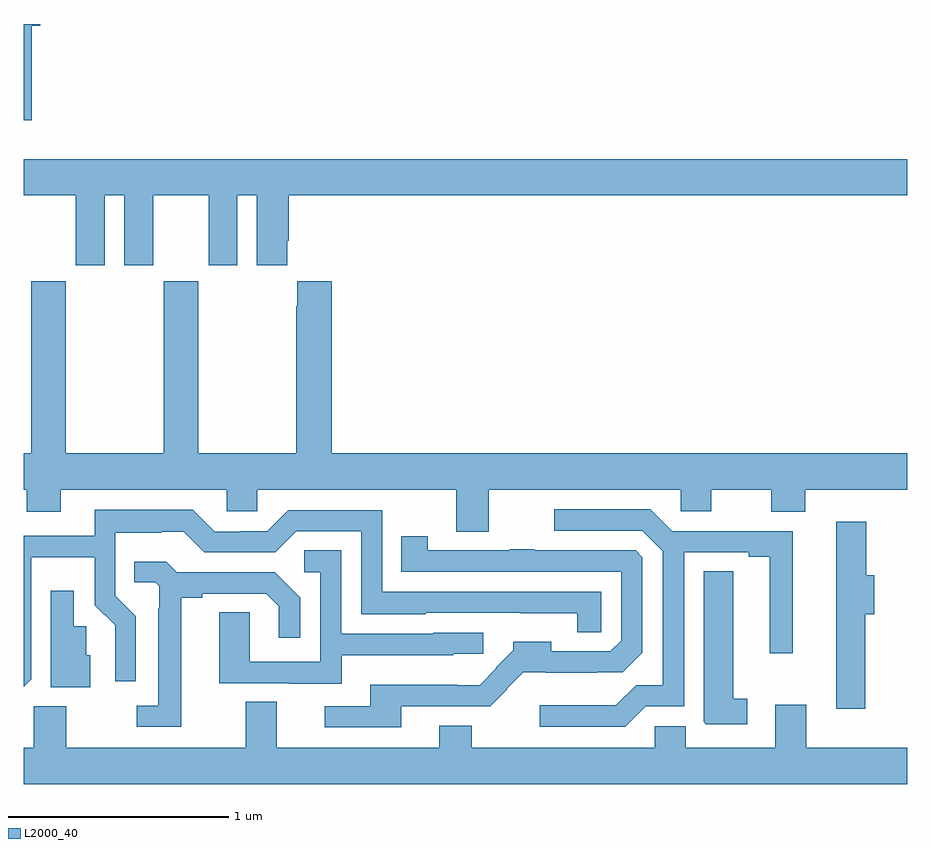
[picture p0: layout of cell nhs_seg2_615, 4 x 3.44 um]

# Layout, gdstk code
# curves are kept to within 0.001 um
import gdstk
lib = gdstk.Library(unit=1e-6, precision=1e-09)
def P(c, l, *ps):  # polygons
    for p in ps: c.add(gdstk.Polygon(p, *l))
L2000_40 = (2000, 40)

nhs_seg2_615 = lib.new_cell('nhs_seg2_615')
P(nhs_seg2_615, L2000_40, [(143.036,593.792),(143.075,593.792),(143.075,593.8),(143,593.8),(143,593.364),(143.036,593.364)],
  [(143.368,593.024),(143.456,593.024),(143.456,592.707),(143.587,592.707),(143.587,593.024),(143.837,593.024),(143.837,592.707),(143.968,592.707),(143.968,593.024),(144.056,593.024),(144.056,592.707),(144.193,592.707),(144.193,592.819),(144.2,592.819),(144.2,593.024),(147,593.024),(147,593.188),(143,593.188),(143,593.024),(143.237,593.024),(143.237,592.707),(143.368,592.707)],
  [(143.79,592.636),(143.635,592.636),(143.635,591.856),(143.19,591.856),(143.19,592.636),(143.035,592.636),(143.035,591.856),(143,591.856),(143,591.692),(143.015,591.692),(143.015,591.593),(143.167,591.593),(143.167,591.692),(143.919,591.692),(143.919,591.594),(144.057,591.594),(144.057,591.692),(144.958,591.692),(144.958,591.502),(145.105,591.502),(145.105,591.692),(145.974,591.692),(145.974,591.594),(146.113,591.594),(146.113,591.692),(146.384,591.692),(146.384,591.593),(146.537,591.593),(146.537,591.692),(147,591.692),(147,591.856),(144.395,591.856),(144.395,592.636),(144.239,592.636),(144.239,592.523),(144.235,592.523),(144.235,591.856),(143.79,591.856)],
  [(145.815,590.712),(145.989,590.712),(145.989,591.408),(146.282,591.408),(146.282,591.388),(146.378,591.388),(146.378,590.952),(146.482,590.952),(146.482,591.504),(145.936,591.504),(145.837,591.603),(145.401,591.603),(145.401,591.507),(145.8,591.507),(145.893,591.414),(145.893,590.807),(145.772,590.807),(145.681,590.716),(145.335,590.716),(145.335,590.619),(145.722,590.619)],
  [(143.034,590.835),(143.034,591.386),(143.322,591.386),(143.322,591.17),(143.414,591.078),(143.414,590.826),(143.508,590.826),(143.508,591.12),(143.415,591.213),(143.415,591.497),(143.624,591.497),(143.624,591.501),(143.724,591.501),(143.817,591.408),(144.138,591.408),(144.234,591.504),(144.528,591.504),(144.528,591.128),(144.819,591.128),(144.819,591.135),(145.506,591.134),(145.506,591.046),(145.614,591.046),(145.614,591.231),(144.624,591.231),(144.624,591.6),(144.198,591.6),(144.102,591.504),(143.982,591.504),(143.982,591.501),(143.865,591.501),(143.765,591.601),(143.321,591.601),(143.321,591.483),(143,591.483),(143,590.801)],
  [(146.81,591.128),(146.849,591.128),(146.849,591.306),(146.813,591.306),(146.813,591.547),(146.678,591.547),(146.678,590.7),(146.81,590.7)],
  [(144.709,590.712),(145.113,590.712),(145.189,590.789),(145.187,590.791),(145.261,590.865),(145.595,590.864),(145.595,590.866),(145.711,590.866),(145.8,590.955),(145.8,591.387),(145.77,591.417),(145.313,591.417),(145.313,591.422),(145.201,591.422),(145.201,591.417),(144.828,591.417),(144.828,591.481),(144.709,591.481),(144.709,591.321),(145.704,591.321),(145.704,591.009),(145.656,590.961),(145.387,590.961),(145.387,591.004),(145.216,591.004),(145.216,590.965),(145.137,590.886),(145.14,590.883),(145.064,590.807),(144.962,590.807),(144.962,590.809),(144.569,590.809),(144.569,590.712),(144.363,590.712),(144.363,590.616),(144.709,590.616)],
  [(144.439,590.942),(144.945,590.942),(144.945,590.949),(145.08,590.949),(145.08,591.045),(144.855,591.045),(144.855,591.039),(144.438,591.039),(144.438,591.419),(144.27,591.419),(144.27,591.318),(144.342,591.318),(144.342,590.913),(144.024,590.913),(144.024,591.137),(143.885,591.137),(143.885,590.817),(144.203,590.817),(144.203,590.813),(144.439,590.813)],
  [(143.713,591.202),(143.809,591.202),(143.809,591.222),(144.098,591.222),(144.155,591.165),(144.155,591.021),(144.252,591.021),(144.252,591.202),(144.136,591.318),(143.694,591.318),(143.646,591.365),(143.5,591.365),(143.5,591.273),(143.595,591.273),(143.613,591.255),(143.613,591.155),(143.609,591.155),(143.609,590.715),(143.511,590.715),(143.511,590.619),(143.713,590.619)],
  [(146.275,590.747),(146.212,590.747),(146.212,591.323),(146.078,591.323),(146.078,590.641),(146.088,590.631),(146.275,590.631)],
  [(143.302,590.943),(143.283,590.943),(143.283,591.075),(143.227,591.075),(143.227,591.235),(143.123,591.235),(143.123,590.798),(143.302,590.798)],
  [(147,590.524),(146.542,590.524),(146.542,590.719),(146.402,590.719),(146.402,590.524),(145.996,590.524),(145.996,590.622),(145.857,590.622),(145.857,590.524),(145.029,590.524),(145.029,590.623),(144.881,590.623),(144.881,590.524),(144.145,590.524),(144.145,590.732),(144.005,590.732),(144.005,590.524),(143.193,590.524),(143.193,590.713),(143.046,590.713),(143.046,590.524),(143,590.524),(143,590.36),(147,590.36)])

lib.write_gds('nhs_seg2_615.gds')
